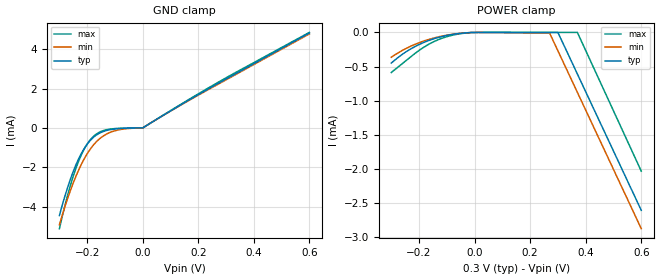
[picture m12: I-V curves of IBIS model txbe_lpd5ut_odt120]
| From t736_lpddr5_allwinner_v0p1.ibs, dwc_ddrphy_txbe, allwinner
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[Model] txbe_lpd5ut_odt120
Model_type   Input
Polarity   Non-Inverting
Enable   Active-High
C_comp   949.903fF   921.281fF   984.407fF
C_comp_pullup   290.792fF   274.400fF   306.092fF
C_comp_pulldown   524.491fF   508.829fF   544.882fF
Vinh = 310.000mV
Vinl = 190.000mV
[Model Spec]
D_overshoot_ampl_h 0.1 NA   NA
D_overshoot_ampl_l 0.1 NA   NA
D_overshoot_area_l 300.000m NA   NA
D_overshoot_area_h 300.000m NA   NA
[Receiver Thresholds]
Vth = 125.000mV
Vth_min = 118.000mV
Vth_max = 143.000mV
Vinh_ac = 60.000mV
Vinh_dc = 60.000mV
Vinl_ac = -60.000mV
Vinl_dc = -60.000mV
Tslew_ac = 5.000ns
Threshold_sensitivity = 0.5
Reference_supply Power_clamp_ref
[Temperature Range]   25.000   125.000   -40.000
[Voltage Range]   300.000mV   270.000mV   370.000mV
[GND Clamp Reference]   0.00V   0.00V   0.00V
[C Comp Corner]
| variable   typ   min   max
C_comp   949.903fF   921.281fF   984.407fF
C_comp_pullup   290.792fF   274.400fF   306.092fF
C_comp_pulldown   524.491fF   508.829fF   544.882fF
[POWER Clamp Reference]   300.000mV   270.000mV   370.000mV
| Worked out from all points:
|   GND clamp passes 1 mA (typ) near -0.21 V on its own axis
[GND Clamp]
-300mV    -4.452mA   -4.919mA   -5.119mA
-280mV    -3.459mA   -3.997mA   -3.935mA
-260mV    -2.59mA    -3.167mA   -2.901mA
-230mV    -1.548mA   -2.118mA   -1.661mA
-200mV    -825.8uA   -1.313mA   -818.5uA
-170mV    -392.5uA   -748.3uA   -342.8uA
-140mV    -171.3uA   -391.9uA   -128uA
-110mV    -71.96uA   -187.6uA   -47.22uA
-70mV     -21.17uA   -59.58uA   -13.47uA
0V        0A         0A         0A
270mV     2.251mA    2.208mA    2.306mA
600mV     4.824mA    4.775mA    4.853mA
[Power Clamp]
-300mV    -450uA     -365uA     -588uA
-250mV    -293uA     -242uA     -424uA
-200mV    -178uA     -152uA     -265uA
-150mV    -98uA      -86uA      -142uA
-90mV     -37uA      -34.2uA    -51.2uA
-10mV     -2uA       -1.8uA     -1.8uA
270mV     -994.9nA   -9.783uA   -182.9nA
300mV     -1.112uA   -270.4uA   -204.5nA
370mV     -609.4uA   -878.5uA   -255.6nA
600mV     -2.608mA   -2.877mA   -2.034mA
